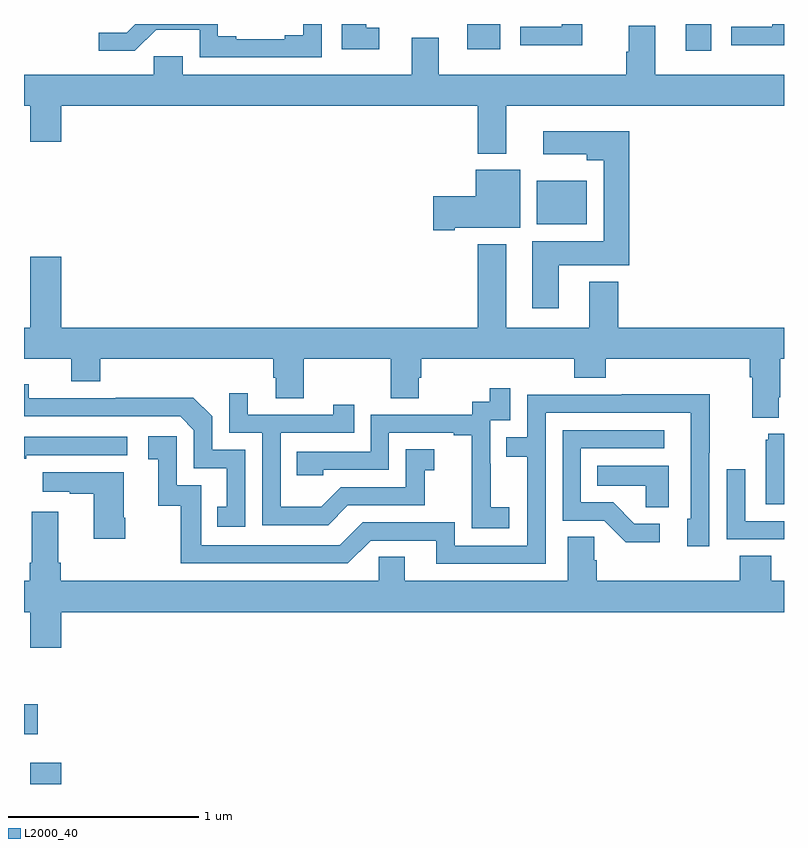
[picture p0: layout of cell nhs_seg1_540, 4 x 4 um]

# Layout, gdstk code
import gdstk
lib = gdstk.Library(unit=1e-6, precision=1e-09)
def R(c, l, rs):  # rectangles x0, y0, x1, y1
    for r in rs: c.add(gdstk.rectangle(r[:2], r[2:], *l))
def P(c, l, *ps):  # polygons
    for p in ps: c.add(gdstk.Polygon(p, *l))
L2000_40 = (2000, 40)

nhs_seg1_540 = lib.new_cell('nhs_seg1_540')
R(nhs_seg1_540, L2000_40, [(141.032,512.199,141.196,512.311), (141,512.462,141.073,512.62), (143.699,515.144,143.962,515.374), (144.482,516.057,144.616,516.199), (143.334,516.066,143.506,516.199)])
P(nhs_seg1_540, L2000_40, [(142.87,516.18),(142.801,516.18),(142.801,516.199),(142.673,516.199),(142.673,516.065),(142.87,516.065)],
  [(142.566,516.199),(142.469,516.199),(142.469,516.14),(142.373,516.14),(142.373,516.12),(142.117,516.12),(142.117,516.134),(142.02,516.134),(142.02,516.199),(141.586,516.199),(141.541,516.154),(141.393,516.154),(141.393,516.057),(141.582,516.057),(141.695,516.17),(141.924,516.17),(141.924,516.024),(142.566,516.024)],
  [(143.937,516.199),(143.829,516.199),(143.829,516.184),(143.613,516.184),(143.613,516.086),(143.937,516.086)],
  [(145,516.199),(144.939,516.199),(144.939,516.184),(144.723,516.184),(144.723,516.086),(145,516.086)],
  [(143.539,515.768),(145,515.768),(145,515.932),(144.322,515.932),(144.322,516.19),(144.182,516.19),(144.182,516.053),(144.17,516.053),(144.17,515.932),(143.182,515.932),(143.182,516.127),(143.042,516.127),(143.042,515.932),(141.835,515.932),(141.835,516.03),(141.684,516.03),(141.684,515.932),(141,515.932),(141,515.768),(141.032,515.768),(141.032,515.58),(141.196,515.58),(141.196,515.768),(143.387,515.768),(143.387,515.516),(143.539,515.516)],
  [(143.815,514.928),(144.185,514.928),(144.185,515.635),(143.733,515.635),(143.733,515.513),(143.963,515.513),(143.963,515.483),(144.05,515.483),(144.05,515.056),(143.675,515.056),(143.675,514.704),(143.815,514.704)],
  [(143.266,515.126),(143.611,515.126),(143.611,515.431),(143.378,515.431),(143.378,515.292),(143.154,515.292),(143.154,515.114),(143.266,515.114)],
  [(144.973,514.234),(144.981,514.234),(144.981,514.436),(145,514.436),(145,514.6),(144.128,514.6),(144.128,514.843),(143.975,514.843),(143.975,514.6),(143.539,514.6),(143.539,515.041),(143.387,515.041),(143.387,514.6),(141.196,514.6),(141.196,514.975),(141.032,514.975),(141.032,514.6),(141,514.6),(141,514.436),(141.248,514.436),(141.248,514.319),(141.401,514.319),(141.401,514.436),(142.313,514.436),(142.313,514.338),(142.325,514.338),(142.325,514.228),(142.473,514.228),(142.473,514.436),(142.93,514.436),(142.93,514.228),(143.077,514.228),(143.077,514.338),(143.09,514.338),(143.09,514.436),(143.897,514.436),(143.897,514.337),(144.062,514.337),(144.062,514.436),(144.821,514.436),(144.821,514.34),(144.833,514.34),(144.833,514.127),(144.973,514.127)],
  [(142.164,513.957),(141.99,513.957),(141.99,514.134),(141.892,514.232),(141.484,514.232),(141.484,514.23),(141.024,514.23),(141.024,514.303),(141,514.303),(141,514.134),(141.822,514.134),(141.894,514.062),(141.894,513.861),(142.067,513.861),(142.067,513.657),(142.018,513.657),(142.018,513.552),(142.164,513.552)],
  [(143.554,513.655),(143.456,513.655),(143.456,513.884),(143.454,513.884),(143.454,514.113),(143.559,514.113),(143.559,514.282),(143.451,514.282),(143.451,514.212),(143.358,514.212),(143.358,514.143),(142.824,514.143),(142.824,513.948),(142.435,513.948),(142.435,513.825),(142.575,513.825),(142.575,513.852),(142.92,513.852),(142.92,514.047),(143.261,514.047),(143.261,514.035),(143.357,514.035),(143.357,513.751),(143.356,513.751),(143.356,513.545),(143.554,513.545)],
  [(142.705,513.666),(143.109,513.666),(143.109,513.851),(143.158,513.851),(143.158,513.961),(143.01,513.961),(143.01,513.762),(142.668,513.762),(142.564,513.658),(142.35,513.658),(142.35,514.047),(142.739,514.047),(142.739,514.195),(142.628,514.195),(142.628,514.143),(142.177,514.143),(142.177,514.255),(142.08,514.255),(142.08,514.047),(142.254,514.047),(142.254,513.561),(142.6,513.561)],
  [(143.745,514.152),(144.51,514.152),(144.51,513.594),(144.491,513.594),(144.491,513.45),(144.606,513.45),(144.606,513.943),(144.609,513.943),(144.609,514.25),(144.145,514.25),(144.145,514.248),(143.649,514.248),(143.649,514.023),(143.539,514.023),(143.539,513.922),(143.649,513.922),(143.649,513.453),(143.268,513.453),(143.268,513.576),(142.782,513.576),(142.662,513.456),(141.933,513.456),(141.933,513.771),(141.804,513.771),(141.804,514.03),(141.654,514.03),(141.654,513.909),(141.707,513.909),(141.707,513.663),(141.825,513.663),(141.825,513.36),(142.704,513.36),(142.824,513.48),(143.171,513.48),(143.171,513.357),(143.745,513.357)],
  [(144.346,513.57),(144.211,513.57),(144.1,513.681),(143.931,513.681),(143.931,513.966),(144.37,513.966),(144.37,514.062),(143.835,514.062),(143.835,513.585),(144.054,513.585),(144.167,513.472),(144.346,513.472)],
  [(145,514.042),(144.917,514.042),(144.917,514.011),(144.905,514.011),(144.905,513.671),(145,513.671)],
  [(141.011,513.93),(141.544,513.93),(141.544,514.026),(141,514.026),(141,513.91),(141.011,513.91)],
  [(144.394,513.874),(144.016,513.874),(144.016,513.77),(144.273,513.77),(144.273,513.655),(144.394,513.655)],
  [(145,513.582),(144.795,513.582),(144.795,513.856),(144.699,513.856),(144.699,513.486),(145,513.486)],
  [(141.534,513.601),(141.526,513.601),(141.526,513.841),(141.099,513.841),(141.099,513.737),(141.242,513.737),(141.242,513.727),(141.368,513.727),(141.368,513.489),(141.534,513.489)],
  [(141.196,513.104),(145,513.104),(145,513.268),(144.932,513.268),(144.932,513.401),(144.767,513.401),(144.767,513.268),(144.014,513.268),(144.014,513.377),(144,513.377),(144,513.5),(143.861,513.5),(143.861,513.268),(143.005,513.268),(143.005,513.395),(142.866,513.395),(142.866,513.268),(141.194,513.268),(141.194,513.364),(141.181,513.364),(141.181,513.631),(141.041,513.631),(141.041,513.364),(141.029,513.364),(141.029,513.268),(141,513.268),(141,513.104),(141.032,513.104),(141.032,512.916),(141.196,512.916)])

lib.write_gds('nhs_seg1_540.gds')
